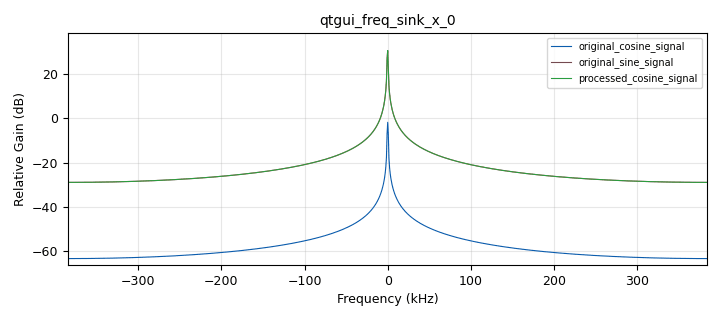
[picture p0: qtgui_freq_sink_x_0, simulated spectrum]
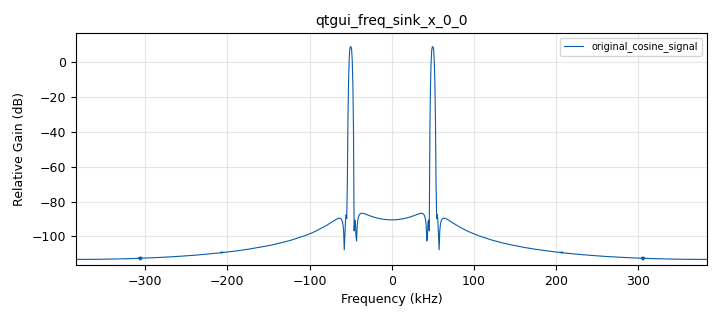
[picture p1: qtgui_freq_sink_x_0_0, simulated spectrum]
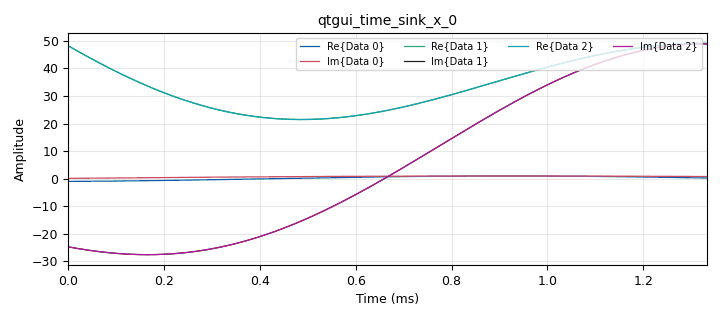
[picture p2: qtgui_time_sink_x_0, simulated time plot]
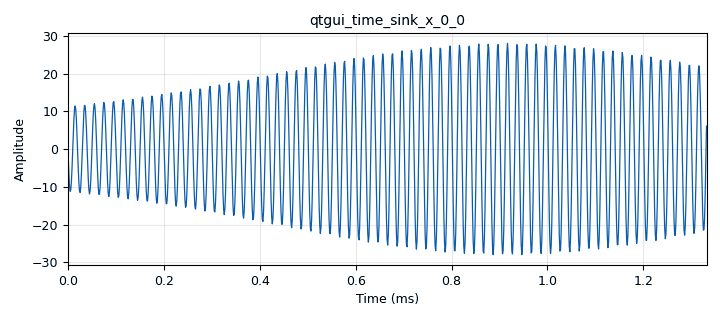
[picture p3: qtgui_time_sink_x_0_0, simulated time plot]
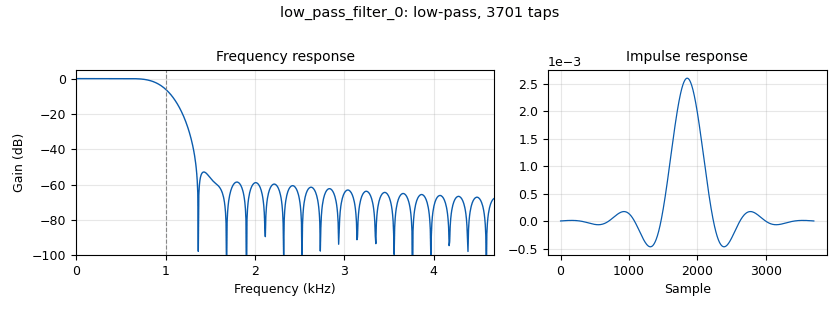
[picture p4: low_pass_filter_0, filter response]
options:
  parameters:
    generate_options: qt_gui
    id: Lab0
    output_language: python
    title: Not titled yet
  states: {}

blocks:
- name: samp_rate
  id: variable
  parameters:
    value: '768000'
  states: {}
- name: variable_a1
  id: variable_qtgui_range
  parameters:
    label: a1
    start: '0'
    step: '0.5'
    stop: '20'
    value: '7'
  states: {}
- name: variable_a2
  id: variable_qtgui_range
  parameters:
    label: a2
    start: '-10'
    step: '1'
    stop: '10'
    value: '0'
  states: {}
- name: variable_a3
  id: variable_qtgui_range
  parameters:
    label: a3
    start: '-5'
    step: '0.1'
    stop: '5'
    value: '0'
  states: {}
- name: variable_channel_atenuation
  id: variable_qtgui_range
  parameters:
    label: atenuation
    start: '0'
    step: '0.01'
    stop: '1'
    value: '1'
  states: {}
- name: variable_fc
  id: variable_qtgui_range
  parameters:
    label: central frequency
    start: '0'
    step: '1'
    stop: '100000'
    value: '50000'
  states: {}
- name: variable_m
  id: variable_qtgui_range
  parameters:
    label: modulation index
    start: '0'
    step: '1'
    stop: '1'
    value: '1'
  states: {}
- name: variable_x_freq
  id: variable_qtgui_range
  parameters:
    label: Signal frequency
    start: '0'
    step: '1'
    stop: '5000'
    value: '500'
  states: {}
- name: variable_y_freq
  id: variable_qtgui_range
  parameters:
    label: Signal frequency
    start: '0'
    step: '1'
    stop: '5000'
    value: '250'
  states: {}
- name: analog_noise_source_x_0
  id: analog_noise_source_x
  parameters:
    amp: '0.01'
    noise_type: analog.GR_GAUSSIAN
    seed: '0'
    type: complex
  states: {}
- name: analog_sig_source_x_0
  id: analog_sig_source_x
  parameters:
    amp: '1'
    freq: variable_x_freq
    offset: '0'
    phase: '0'
    samp_rate: samp_rate
    type: float
    waveform: analog.GR_COS_WAVE
  states: {}
- name: analog_sig_source_x_0_0
  id: analog_sig_source_x
  parameters:
    amp: '1'
    freq: variable_y_freq
    offset: '0'
    phase: '0'
    samp_rate: samp_rate
    type: float
    waveform: analog.GR_COS_WAVE
  states: {}
- name: analog_sig_source_x_2
  id: analog_sig_source_x
  parameters:
    amp: '1'
    freq: variable_fc
    offset: '0'
    phase: '0'
    samp_rate: samp_rate
    type: complex
    waveform: analog.GR_COS_WAVE
  states: {}
- name: analog_sig_source_x_2_0
  id: analog_sig_source_x
  parameters:
    amp: '1'
    freq: variable_fc
    offset: '0'
    phase: '0'
    samp_rate: samp_rate
    type: complex
    waveform: analog.GR_COS_WAVE
  states: {}
- name: blocks_add_const_vxx_0
  id: blocks_add_const_vxx
  parameters:
    const: '1'
    type: float
  states: {}
- name: blocks_add_const_vxx_0_0
  id: blocks_add_const_vxx
  parameters:
    const: '1'
    type: float
  states: {}
- name: blocks_add_xx_0
  id: blocks_add_xx
  parameters:
    type: complex
  states: {}
- name: blocks_add_xx_1
  id: blocks_add_xx
  parameters:
    num_inputs: '3'
    type: complex
  states: {}
- name: blocks_add_xx_1_0
  id: blocks_add_xx
  parameters:
    num_inputs: '3'
    type: complex
  states: {}
- name: blocks_add_xx_3
  id: blocks_add_xx
  parameters:
    type: float
  states: {}
- name: blocks_complex_to_float_0
  id: blocks_complex_to_float
  parameters: {}
  states: {}
- name: blocks_float_to_complex_0_0
  id: blocks_float_to_complex
  parameters: {}
  states: {}
- name: blocks_float_to_complex_0_0_1_0
  id: blocks_float_to_complex
  parameters: {}
  states: {}
- name: blocks_float_to_complex_1
  id: blocks_float_to_complex
  parameters: {}
  states: {}
- name: blocks_multiply_const_vxx_0
  id: blocks_multiply_const_vxx
  parameters:
    const: variable_a1
    type: complex
  states: {}
- name: blocks_multiply_const_vxx_0_0
  id: blocks_multiply_const_vxx
  parameters:
    const: variable_a1
    type: complex
  states: {}
- name: blocks_multiply_const_vxx_1
  id: blocks_multiply_const_vxx
  parameters:
    const: variable_a2
    type: complex
  states: {}
- name: blocks_multiply_const_vxx_1_0
  id: blocks_multiply_const_vxx
  parameters:
    const: variable_channel_atenuation
    type: complex
  states: {}
- name: blocks_multiply_const_vxx_1_1
  id: blocks_multiply_const_vxx
  parameters:
    const: variable_a2
    type: complex
  states: {}
- name: blocks_multiply_const_vxx_2
  id: blocks_multiply_const_vxx
  parameters:
    const: variable_a3
    type: complex
  states: {}
- name: blocks_multiply_const_vxx_2_0
  id: blocks_multiply_const_vxx
  parameters:
    const: variable_a3
    type: complex
  states: {}
- name: blocks_multiply_const_vxx_3
  id: blocks_multiply_const_vxx
  parameters:
    const: variable_m
    type: float
  states: {}
- name: blocks_multiply_const_vxx_3_0
  id: blocks_multiply_const_vxx
  parameters:
    const: variable_m
    type: float
  states: {}
- name: blocks_multiply_xx_0_0
  id: blocks_multiply_xx
  parameters:
    type: complex
  states: {}
- name: blocks_multiply_xx_0_0_0
  id: blocks_multiply_xx
  parameters:
    type: complex
  states: {}
- name: blocks_multiply_xx_0_3
  id: blocks_multiply_xx
  parameters:
    type: complex
  states: {}
- name: blocks_multiply_xx_0_3_0
  id: blocks_multiply_xx
  parameters:
    num_inputs: '3'
    type: complex
  states: {}
- name: blocks_multiply_xx_0_3_0_0
  id: blocks_multiply_xx
  parameters:
    num_inputs: '3'
    type: complex
  states: {}
- name: blocks_multiply_xx_0_3_1
  id: blocks_multiply_xx
  parameters:
    type: complex
  states: {}
- name: blocks_throttle_0
  id: blocks_throttle
  parameters:
    samples_per_second: samp_rate
    type: complex
  states: {}
- name: low_pass_filter_0
  id: low_pass_filter
  parameters:
    cutoff_freq: 2*variable_x_freq
    gain: '1'
    interp: '1'
    samp_rate: samp_rate
    type: interp_fir_filter_ccf
    width: variable_x_freq
    win: window.WIN_HAMMING
  states: {}
- name: low_pass_filter_0_0
  id: low_pass_filter
  parameters:
    cutoff_freq: 2*variable_x_freq
    gain: '1'
    interp: '1'
    samp_rate: samp_rate
    type: interp_fir_filter_ccf
    width: variable_x_freq
    win: window.WIN_HAMMING
  states: {}
- name: qtgui_freq_sink_x_0
  id: qtgui_freq_sink_x
  parameters:
    autoscale: 'True'
    bw: samp_rate
    fc: '0'
    fftsize: '1024'
    label1: original_cosine_signal
    label2: original_sine_signal
    label3: processed_cosine_signal
    nconnections: '3'
    type: complex
    wintype: window.WIN_RECTANGULAR
  states: {}
- name: qtgui_freq_sink_x_0_0
  id: qtgui_freq_sink_x
  parameters:
    autoscale: 'True'
    bw: samp_rate
    fc: '0'
    fftsize: '1024'
    label1: original_cosine_signal
    type: float
    wintype: window.WIN_FLATTOP
  states: {}
- name: qtgui_time_sink_x_0
  id: qtgui_time_sink_x
  parameters:
    autoscale: 'True'
    nconnections: '3'
    size: '1024'
    srate: samp_rate
    type: complex
  states: {}
- name: qtgui_time_sink_x_0_0
  id: qtgui_time_sink_x
  parameters:
    autoscale: 'True'
    size: '1024'
    srate: samp_rate
    type: float
  states: {}
- name: virtual_sink_0
  id: virtual_sink
  parameters:
    stream_id: channel_output
  states: {}
- name: virtual_sink_0_0
  id: virtual_sink
  parameters:
    stream_id: original_cosine_signal
  states: {}
- name: virtual_sink_0_0_0
  id: virtual_sink
  parameters:
    stream_id: original_sine_signal
  states: {}
- name: virtual_sink_0_1
  id: virtual_sink
  parameters:
    stream_id: processed_sine_signal
  states: {}
- name: virtual_sink_0_1_0
  id: virtual_sink
  parameters:
    stream_id: processed_cosine_signal
  states: {}
- name: virtual_sink_0_2_1_0
  id: virtual_sink
  parameters:
    stream_id: channel_input
  states: {}
- name: virtual_source_0
  id: virtual_source
  parameters:
    stream_id: channel_output
  states: {}
- name: virtual_source_0_1
  id: virtual_source
  parameters:
    stream_id: channel_input
  states: {}
- name: virtual_source_0_1_0
  id: virtual_source
  parameters:
    stream_id: channel_input
  states: {}
- name: virtual_source_0_2_1
  id: virtual_source
  parameters:
    stream_id: original_cosine_signal
  states: {}
- name: virtual_source_0_2_2
  id: virtual_source
  parameters:
    stream_id: original_sine_signal
  states: {}
- name: virtual_source_0_2_3
  id: virtual_source
  parameters:
    stream_id: processed_cosine_signal
  states: {}
- name: virtual_source_0_2_4
  id: virtual_source
  parameters:
    stream_id: processed_sine_signal
  states: {}

connections:
- [analog_noise_source_x_0, '0', blocks_add_xx_0, '1']
- [analog_sig_source_x_0, '0', blocks_multiply_const_vxx_3, '0']
- [analog_sig_source_x_0_0, '0', blocks_multiply_const_vxx_3_0, '0']
- [analog_sig_source_x_2, '0', blocks_multiply_xx_0_0, '1']
- [analog_sig_source_x_2_0, '0', blocks_multiply_xx_0_0_0, '1']
- [blocks_add_const_vxx_0, '0', blocks_float_to_complex_0_0, '0']
- [blocks_add_const_vxx_0_0, '0', blocks_float_to_complex_0_0, '1']
- [blocks_add_xx_0, '0', virtual_sink_0, '0']
- [blocks_add_xx_1, '0', blocks_multiply_xx_0_0_0, '0']
- [blocks_add_xx_1_0, '0', blocks_complex_to_float_0, '0']
- [blocks_add_xx_3, '0', virtual_sink_0_2_1_0, '0']
- [blocks_complex_to_float_0, '0', blocks_add_xx_3, '0']
- [blocks_complex_to_float_0, '1', blocks_add_xx_3, '1']
- [blocks_float_to_complex_0_0, '0', blocks_multiply_xx_0_0, '0']
- [blocks_float_to_complex_0_0_1_0, '0', qtgui_freq_sink_x_0, '0']
- [blocks_float_to_complex_0_0_1_0, '0', qtgui_time_sink_x_0, '0']
- [blocks_float_to_complex_1, '0', blocks_multiply_const_vxx_1_0, '0']
- [blocks_multiply_const_vxx_0, '0', blocks_add_xx_1, '0']
- [blocks_multiply_const_vxx_0_0, '0', blocks_add_xx_1_0, '0']
- [blocks_multiply_const_vxx_1, '0', blocks_add_xx_1, '1']
- [blocks_multiply_const_vxx_1_0, '0', blocks_add_xx_0, '0']
- [blocks_multiply_const_vxx_1_1, '0', blocks_add_xx_1_0, '1']
- [blocks_multiply_const_vxx_2, '0', blocks_add_xx_1, '2']
- [blocks_multiply_const_vxx_2_0, '0', blocks_add_xx_1_0, '2']
- [blocks_multiply_const_vxx_3, '0', blocks_add_const_vxx_0, '0']
- [blocks_multiply_const_vxx_3, '0', virtual_sink_0_0, '0']
- [blocks_multiply_const_vxx_3_0, '0', blocks_add_const_vxx_0_0, '0']
- [blocks_multiply_const_vxx_3_0, '0', virtual_sink_0_0_0, '0']
- [blocks_multiply_xx_0_0, '0', blocks_multiply_const_vxx_0_0, '0']
- [blocks_multiply_xx_0_0, '0', blocks_multiply_xx_0_3_0_0, '0']
- [blocks_multiply_xx_0_0, '0', blocks_multiply_xx_0_3_0_0, '1']
- [blocks_multiply_xx_0_0, '0', blocks_multiply_xx_0_3_0_0, '2']
- [blocks_multiply_xx_0_0, '0', blocks_multiply_xx_0_3_1, '0']
- [blocks_multiply_xx_0_0, '0', blocks_multiply_xx_0_3_1, '1']
- [blocks_multiply_xx_0_0_0, '0', low_pass_filter_0, '0']
- [blocks_multiply_xx_0_0_0, '0', low_pass_filter_0_0, '0']
- [blocks_multiply_xx_0_3, '0', blocks_multiply_const_vxx_1, '0']
- [blocks_multiply_xx_0_3_0, '0', blocks_multiply_const_vxx_2, '0']
- [blocks_multiply_xx_0_3_0_0, '0', blocks_multiply_const_vxx_2_0, '0']
- [blocks_multiply_xx_0_3_1, '0', blocks_multiply_const_vxx_1_1, '0']
- [blocks_throttle_0, '0', qtgui_freq_sink_x_0, '2']
- [blocks_throttle_0, '0', qtgui_time_sink_x_0, '2']
- [low_pass_filter_0, '0', virtual_sink_0_1, '0']
- [low_pass_filter_0_0, '0', virtual_sink_0_1_0, '0']
- [virtual_source_0, '0', blocks_multiply_const_vxx_0, '0']
- [virtual_source_0, '0', blocks_multiply_xx_0_3, '0']
- [virtual_source_0, '0', blocks_multiply_xx_0_3, '1']
- [virtual_source_0, '0', blocks_multiply_xx_0_3_0, '0']
- [virtual_source_0, '0', blocks_multiply_xx_0_3_0, '1']
- [virtual_source_0, '0', blocks_multiply_xx_0_3_0, '2']
- [virtual_source_0_1, '0', blocks_float_to_complex_1, '0']
- [virtual_source_0_1_0, '0', qtgui_freq_sink_x_0_0, '0']
- [virtual_source_0_1_0, '0', qtgui_time_sink_x_0_0, '0']
- [virtual_source_0_2_1, '0', blocks_float_to_complex_0_0_1_0, '0']
- [virtual_source_0_2_2, '0', blocks_float_to_complex_0_0_1_0, '1']
- [virtual_source_0_2_3, '0', qtgui_freq_sink_x_0, '1']
- [virtual_source_0_2_3, '0', qtgui_time_sink_x_0, '1']
- [virtual_source_0_2_4, '0', blocks_throttle_0, '0']

metadata:
  file_format: 1
  grc_version: 3.10.10.0
